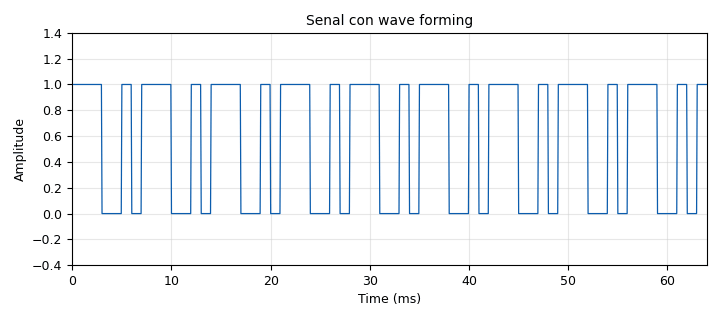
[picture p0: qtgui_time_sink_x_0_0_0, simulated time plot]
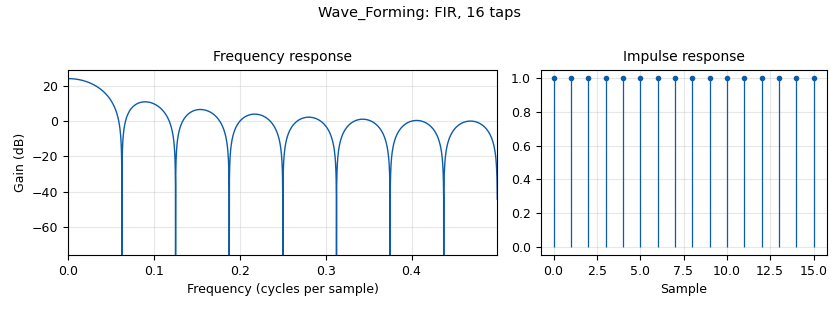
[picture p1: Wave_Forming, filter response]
<?xml version='1.0' encoding='utf-8'?>
<?grc format='1' created='3.7.9'?>
<flow_graph>
<block>
<key>options</key>
<param><key>id</key><value>top_block</value></param>
<param><key>category</key><value>Custom</value></param>
<param><key>generate_options</key><value>qt_gui</value></param>
<param><key>run</key><value>run_stop</value></param>
</block>
<block>
<key>variable</key>
<param><key>id</key><value>BW</value></param>
<param><key>value</key><value>5000</value></param>
</block>
<block>
<key>variable</key>
<param><key>id</key><value>Rb</value></param>
<param><key>value</key><value>samp_rate/Sps</value></param>
</block>
<block>
<key>variable</key>
<param><key>id</key><value>Sps</value></param>
<param><key>value</key><value>16</value></param>
</block>
<block>
<key>variable</key>
<param><key>id</key><value>f0</value></param>
<param><key>value</key><value>1.4*1000</value></param>
</block>
<block>
<key>variable_qtgui_check_box</key>
<param><key>id</key><value>run_stop</value></param>
<param><key>value</key><value>True</value></param>
<param><key>false</key><value>False</value></param>
<param><key>gui_hint</key><value>0,0,1,1</value></param>
<param><key>label</key><value>Inicial/Parar</value></param>
<param><key>true</key><value>True</value></param>
<param><key>type</key><value>int</value></param>
</block>
<block>
<key>variable</key>
<param><key>id</key><value>samp_rate</value></param>
<param><key>value</key><value>16000</value></param>
</block>
<block>
<key>interp_fir_filter_xxx</key>
<param><key>id</key><value>Wave_Forming</value></param>
<param><key>interp</key><value>Sps</value></param>
<param><key>taps</key><value>Sps*[1.,] </value></param>
<param><key>type</key><value>fff</value></param>
</block>
<block>
<key>analog_nbfm_rx</key>
<param><key>id</key><value>analog_nbfm_rx_0</value></param>
<param><key>audio_rate</key><value>samp_rate</value></param>
<param><key>max_dev</key><value>5e3</value></param>
<param><key>quad_rate</key><value>samp_rate</value></param>
<param><key>tau</key><value>75e-6</value></param>
</block>
<block>
<key>analog_random_source_x</key>
<param><key>id</key><value>analog_random_source_x_0</value></param>
<param><key>_enabled</key><value>0</value></param>
<param><key>max</key><value>2</value></param>
<param><key>min</key><value>0</value></param>
<param><key>num_samps</key><value>1000000</value></param>
<param><key>type</key><value>int</value></param>
<param><key>repeat</key><value>True</value></param>
</block>
<block>
<key>analog_wfm_rcv</key>
<param><key>id</key><value>analog_wfm_rcv_0</value></param>
<param><key>audio_decimation</key><value>1</value></param>
<param><key>_enabled</key><value>0</value></param>
<param><key>quad_rate</key><value>samp_rate</value></param>
</block>
<block>
<key>b_fsk_fc</key>
<param><key>id</key><value>b_fsk_fc_0</value></param>
<param><key>BW</key><value>BW</value></param>
<param><key>Sps</key><value>Sps</value></param>
<param><key>f0</key><value>f0</value></param>
<param><key>samp_rate</key><value>samp_rate</value></param>
</block>
<block>
<key>blocks_int_to_float</key>
<param><key>id</key><value>blocks_int_to_float_0</value></param>
<param><key>_enabled</key><value>0</value></param>
<param><key>scale</key><value>1</value></param>
</block>
<block>
<key>blocks_vector_source_x</key>
<param><key>id</key><value>blocks_vector_source_x_0</value></param>
<param><key>type</key><value>float</value></param>
<param><key>repeat</key><value>True</value></param>
<param><key>vector</key><value>(0,0,1,0,1,1,1)</value></param>
</block>
<block>
<key>import</key>
<param><key>id</key><value>import_0</value></param>
<param><key>import</key><value>import math</value></param>
</block>
<block>
<key>qtgui_const_sink_x</key>
<param><key>id</key><value>qtgui_const_sink_x_0</value></param>
<param><key>size</key><value>1024</value></param>
<param><key>type</key><value>complex</value></param>
</block>
<block>
<key>qtgui_time_sink_x</key>
<param><key>id</key><value>qtgui_time_sink_x_0</value></param>
<param><key>_enabled</key><value>0</value></param>
<param><key>color1</key><value>"blue"</value></param>
<param><key>label1</key><value></value></param>
<param><key>name</key><value>"WBFM Recieve"</value></param>
<param><key>size</key><value>1024</value></param>
<param><key>srate</key><value>samp_rate</value></param>
<param><key>type</key><value>float</value></param>
<param><key>ymax</key><value>0.04</value></param>
<param><key>ymin</key><value>-0.04</value></param>
</block>
<block>
<key>qtgui_time_sink_x</key>
<param><key>id</key><value>qtgui_time_sink_x_0_0</value></param>
<param><key>color1</key><value>"blue"</value></param>
<param><key>label1</key><value></value></param>
<param><key>name</key><value>"NBFM Receive"</value></param>
<param><key>size</key><value>1024</value></param>
<param><key>srate</key><value>samp_rate</value></param>
<param><key>type</key><value>float</value></param>
<param><key>ymax</key><value>0.4</value></param>
<param><key>ymin</key><value>-0.4</value></param>
</block>
<block>
<key>qtgui_time_sink_x</key>
<param><key>id</key><value>qtgui_time_sink_x_0_0_0</value></param>
<param><key>color1</key><value>"blue"</value></param>
<param><key>label1</key><value></value></param>
<param><key>name</key><value>"Senal con wave forming"</value></param>
<param><key>size</key><value>1024</value></param>
<param><key>srate</key><value>samp_rate</value></param>
<param><key>type</key><value>float</value></param>
<param><key>ymax</key><value>1.4</value></param>
<param><key>ymin</key><value>-0.4</value></param>
</block>
<connection><source_block_id>Wave_Forming</source_block_id><sink_block_id>qtgui_time_sink_x_0_0_0</sink_block_id><source_key>0</source_key><sink_key>0</sink_key></connection>
<connection><source_block_id>analog_nbfm_rx_0</source_block_id><sink_block_id>qtgui_time_sink_x_0_0</sink_block_id><source_key>0</source_key><sink_key>0</sink_key></connection>
<connection><source_block_id>analog_random_source_x_0</source_block_id><sink_block_id>blocks_int_to_float_0</sink_block_id><source_key>0</source_key><sink_key>0</sink_key></connection>
<connection><source_block_id>analog_wfm_rcv_0</source_block_id><sink_block_id>qtgui_time_sink_x_0</sink_block_id><source_key>0</source_key><sink_key>0</sink_key></connection>
<connection><source_block_id>b_fsk_fc_0</source_block_id><sink_block_id>analog_nbfm_rx_0</sink_block_id><source_key>0</source_key><sink_key>0</sink_key></connection>
<connection><source_block_id>b_fsk_fc_0</source_block_id><sink_block_id>analog_wfm_rcv_0</sink_block_id><source_key>0</source_key><sink_key>0</sink_key></connection>
<connection><source_block_id>b_fsk_fc_0</source_block_id><sink_block_id>qtgui_const_sink_x_0</sink_block_id><source_key>0</source_key><sink_key>0</sink_key></connection>
<connection><source_block_id>blocks_int_to_float_0</source_block_id><sink_block_id>Wave_Forming</sink_block_id><source_key>0</source_key><sink_key>0</sink_key></connection>
<connection><source_block_id>blocks_int_to_float_0</source_block_id><sink_block_id>b_fsk_fc_0</sink_block_id><source_key>0</source_key><sink_key>0</sink_key></connection>
<connection><source_block_id>blocks_vector_source_x_0</source_block_id><sink_block_id>Wave_Forming</sink_block_id><source_key>0</source_key><sink_key>0</sink_key></connection>
<connection><source_block_id>blocks_vector_source_x_0</source_block_id><sink_block_id>b_fsk_fc_0</sink_block_id><source_key>0</source_key><sink_key>0</sink_key></connection>
</flow_graph>
